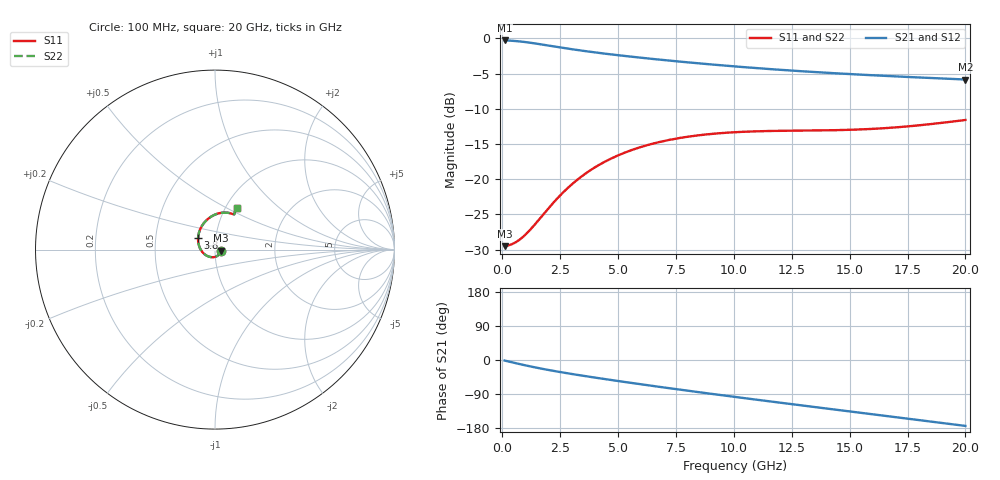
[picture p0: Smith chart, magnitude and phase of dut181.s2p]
! Created with skrf 1.9.0 (http://scikit-rf.org).
# GHz S RI R 50.0
!freq ReS11 ImS11 ReS21 ImS21 ReS12 ImS12 ReS22 ImS22
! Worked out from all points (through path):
!   200 points, 100 MHz to 20 GHz, reference 50 ohm
!   highest |S21| = -0.30 dB at 100 MHz (marker M1); lowest = -5.8 dB at 20 GHz (marker M2)
!   group delay of S21, straight-line fit = 23 ps
!   lowest |S11| = -29.5 dB at 100 MHz (marker M3), VSWR 1.07, Z = 53.4 - j0.581 ohm
!   |S11| at or under -10 dB: start of sweep to end of sweep
!   |S22| runs from -29.5 to -11.6 dB; largest |S21 - S12| = 2.4e-15
!   S11 on the Smith chart (normalised r, x): 100 MHz: 1.07, -0.01; 3.8 GHz: 0.82, +0.11; 20 GHz: 1.12, +0.56
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0.1  0.033 -0.00543  0.9661 -0.0246  0.9661 -0.0246  0.033 -0.00543
0.4  0.0277 -0.0205  0.957 -0.0977  0.957 -0.0977  0.0277 -0.0205
0.8  0.0118 -0.0359  0.9305 -0.1887  0.9305 -0.1887  0.0118 -0.0359
1.2  -0.0105 -0.0423  0.8918 -0.269  0.8918 -0.269  -0.0105 -0.0423
1.7  -0.0399 -0.037  0.8335 -0.353  0.8335 -0.353  -0.0399 -0.037
2.1  -0.0605 -0.0238  0.7834 -0.4082  0.7834 -0.4082  -0.0605 -0.0238
2.6  -0.0796 -0.000131  0.72 -0.4651  0.72 -0.4651  -0.0796 -0.000131
3  -0.0891 0.0218  0.6699 -0.503  0.6699 -0.503  -0.0891 0.0218
3.5  -0.0941 0.0504  0.6083 -0.5429  0.6083 -0.5429  -0.0941 0.0504
3.8  -0.094 0.0672  0.5719 -0.5635  0.5719 -0.5635  -0.094 0.0672
4.5  -0.0863 0.1036  0.4887 -0.6032  0.4887 -0.6032  -0.0863 0.1036
5.2  -0.0713 0.1345  0.4076 -0.6328  0.4076 -0.6328  -0.0713 0.1345
6  -0.0489 0.1622  0.3173 -0.6555  0.3173 -0.6555  -0.0489 0.1622
6.8  -0.0242 0.1821  0.2301 -0.6674  0.2301 -0.6674  -0.0242 0.1821
8.4  0.0237 0.2028  0.0671 -0.6631  0.0671 -0.6631  0.0237 0.2028
10.1  0.0639 0.206  -0.0861 -0.625  -0.0861 -0.625  0.0639 0.206
11.8  0.0896 0.2011  -0.2166 -0.5607  -0.2166 -0.5607  0.0896 0.2011
13.4  0.1022 0.1966  -0.3182 -0.482  -0.3182 -0.482  0.1022 0.1966
15.1  0.1075 0.1969  -0.4031 -0.3838  -0.4031 -0.3838  0.1075 0.1969
16.7  0.1094 0.2038  -0.4607 -0.281  -0.4607 -0.281  0.1094 0.2038
18.4  0.1126 0.2176  -0.4971 -0.1651  -0.4971 -0.1651  0.1126 0.2176
20  0.12 0.2342  -0.5074 -0.054  -0.5074 -0.054  0.12 0.2342
